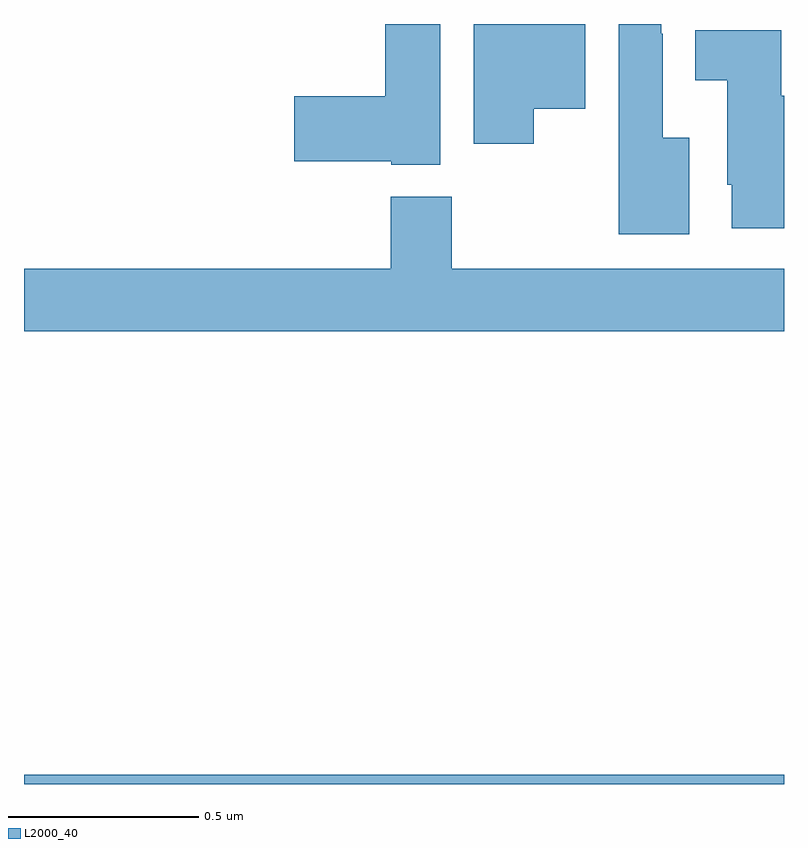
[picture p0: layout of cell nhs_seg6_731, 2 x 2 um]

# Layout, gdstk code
import gdstk
lib = gdstk.Library(unit=1e-6, precision=1e-09)
def R(c, l, rs):  # rectangles x0, y0, x1, y1
    for r in rs: c.add(gdstk.rectangle(r[:2], r[2:], *l))
def P(c, l, *ps):  # polygons
    for p in ps: c.add(gdstk.Polygon(p, *l))
L2000_40 = (2000, 40)

nhs_seg6_731 = lib.new_cell('nhs_seg6_731')
R(nhs_seg6_731, L2000_40, [(120,923.5,122,923.524)])
P(nhs_seg6_731, L2000_40, [(121.75,925.201),(121.681,925.201),(121.681,925.475),(121.677,925.475),(121.677,925.5),(121.565,925.5),(121.565,924.947),(121.75,924.947)],
  [(121.342,925.277),(121.477,925.277),(121.477,925.5),(121.184,925.5),(121.184,925.185),(121.342,925.185)],
  [(121.096,925.5),(120.95,925.5),(120.95,925.31),(120.711,925.31),(120.711,925.139),(120.966,925.139),(120.966,925.13),(121.096,925.13)],
  [(122,925.311),(121.993,925.311),(121.993,925.483),(121.766,925.483),(121.766,925.352),(121.85,925.352),(121.85,925.077),(121.862,925.077),(121.862,924.963),(122,924.963)],
  [(122,924.856),(121.125,924.856),(121.125,925.045),(120.965,925.045),(120.965,924.856),(120,924.856),(120,924.692),(122,924.692)])

lib.write_gds('nhs_seg6_731.gds')
